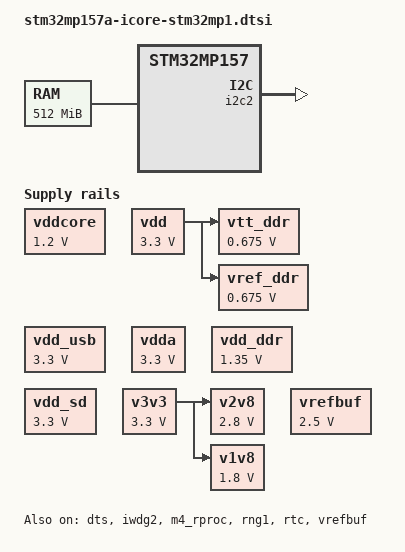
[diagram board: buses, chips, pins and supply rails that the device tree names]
// SPDX-License-Identifier: (GPL-2.0+ OR BSD-3-Clause)
/*
 * Copyright (c) STMicroelectronics 2019 - All Rights Reserved
 * Copyright (c) 2020 Engicam srl
 * Copyright (c) 2020 Amarula Solutions(India)
 */

/ {
	compatible = "engicam,icore-stm32mp1", "st,stm32mp157";

	memory@c0000000 {
		device_type = "memory";
		reg = <0xc0000000 0x20000000>;
	};

	reserved-memory {
		#address-cells = <1>;
		#size-cells = <1>;
		ranges;

		mcuram2: mcuram2@10000000 {
			compatible = "shared-dma-pool";
			reg = <0x10000000 0x40000>;
			no-map;
		};

		vdev0vring0: vdev0vring0@10040000 {
			compatible = "shared-dma-pool";
			reg = <0x10040000 0x1000>;
			no-map;
		};

		vdev0vring1: vdev0vring1@10041000 {
			compatible = "shared-dma-pool";
			reg = <0x10041000 0x1000>;
			no-map;
		};

		vdev0buffer: vdev0buffer@10042000 {
			compatible = "shared-dma-pool";
			reg = <0x10042000 0x4000>;
			no-map;
		};

		mcuram: mcuram@30000000 {
			compatible = "shared-dma-pool";
			reg = <0x30000000 0x40000>;
			no-map;
		};

		retram: retram@38000000 {
			compatible = "shared-dma-pool";
			reg = <0x38000000 0x10000>;
			no-map;
		};
	};

	vddcore: regulator-vddcore {
		compatible = "regulator-fixed";
		regulator-name = "vddcore";
		regulator-min-microvolt = <1200000>;
		regulator-max-microvolt = <1200000>;
		regulator-always-on;
	};

	vdd: regulator-vdd {
		compatible = "regulator-fixed";
		regulator-name = "vdd";
		regulator-min-microvolt = <3300000>;
		regulator-max-microvolt = <3300000>;
		regulator-always-on;
	};

	vdd_usb: regulator-vdd-usb {
		compatible = "regulator-fixed";
		regulator-name = "vdd_usb";
		regulator-min-microvolt = <3300000>;
		regulator-max-microvolt = <3300000>;
		regulator-always-on;
	};

	vdda: regulator-vdda {
		compatible = "regulator-fixed";
		regulator-name = "vdda";
		regulator-min-microvolt = <3300000>;
		regulator-max-microvolt = <3300000>;
		regulator-always-on;
	};

	vdd_ddr: regulator-vdd-ddr {
		compatible = "regulator-fixed";
		regulator-name = "vdd_ddr";
		regulator-min-microvolt = <1350000>;
		regulator-max-microvolt = <1350000>;
		regulator-always-on;
	};

	vtt_ddr: regulator-vtt-ddr {
		compatible = "regulator-fixed";
		regulator-name = "vtt_ddr";
		regulator-min-microvolt = <675000>;
		regulator-max-microvolt = <675000>;
		regulator-always-on;
		vin-supply = <&vdd>;
	};

	vref_ddr: regulator-vref-ddr {
		compatible = "regulator-fixed";
		regulator-name = "vref_ddr";
		regulator-min-microvolt = <675000>;
		regulator-max-microvolt = <675000>;
		regulator-always-on;
		vin-supply = <&vdd>;
	};

	vdd_sd: regulator-vdd-sd {
		compatible = "regulator-fixed";
		regulator-name = "vdd_sd";
		regulator-min-microvolt = <3300000>;
		regulator-max-microvolt = <3300000>;
		regulator-always-on;
	};

	v3v3: regulator-v3v3 {
		compatible = "regulator-fixed";
		regulator-name = "v3v3";
		regulator-min-microvolt = <3300000>;
		regulator-max-microvolt = <3300000>;
		regulator-always-on;
	};

	v2v8: regulator-v2v8 {
		compatible = "regulator-fixed";
		regulator-name = "v2v8";
		regulator-min-microvolt = <2800000>;
		regulator-max-microvolt = <2800000>;
		regulator-always-on;
		vin-supply = <&v3v3>;
	};

	v1v8: regulator-v1v8 {
		compatible = "regulator-fixed";
		regulator-name = "v1v8";
		regulator-min-microvolt = <1800000>;
		regulator-max-microvolt = <1800000>;
		regulator-always-on;
		vin-supply = <&v3v3>;
	};
};

&dts {
	status = "okay";
};

&i2c2 {
	i2c-scl-falling-time-ns = <20>;
	i2c-scl-rising-time-ns = <185>;
	pinctrl-names = "default", "sleep";
	pinctrl-0 = <&i2c2_pins_a>;
	pinctrl-1 = <&i2c2_sleep_pins_a>;
	status = "okay";
};

&ipcc {
	status = "okay";
};

&iwdg2 {
	timeout-sec = <32>;
	status = "okay";
};

&m4_rproc {
	memory-region = <&retram>, <&mcuram>, <&mcuram2>, <&vdev0vring0>,
			<&vdev0vring1>, <&vdev0buffer>;
	mboxes = <&ipcc 0>, <&ipcc 1>, <&ipcc 2>;
	mbox-names = "vq0", "vq1", "shutdown";
	interrupt-parent = <&exti>;
	interrupts = <68 1>;
	status = "okay";
};

&rng1 {
	status = "okay";
};

&rtc {
	status = "okay";
};

&vrefbuf {
	regulator-min-microvolt = <2500000>;
	regulator-max-microvolt = <2500000>;
	vdda-supply = <&vdd>;
	status = "okay";
};
